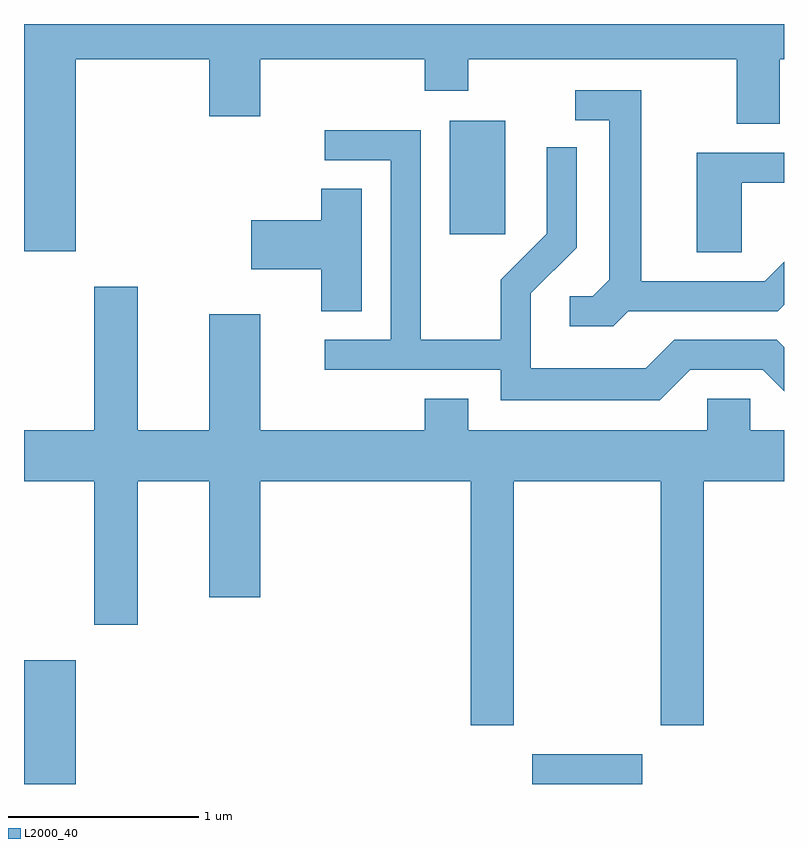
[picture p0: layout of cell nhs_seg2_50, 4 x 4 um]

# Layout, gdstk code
import gdstk
lib = gdstk.Library(unit=1e-6, precision=1e-09)
def R(c, l, rs):  # rectangles x0, y0, x1, y1
    for r in rs: c.add(gdstk.rectangle(r[:2], r[2:], *l))
def P(c, l, *ps):  # polygons
    for p in ps: c.add(gdstk.Polygon(p, *l))
L2000_40 = (2000, 40)

nhs_seg2_50 = lib.new_cell('nhs_seg2_50')
R(nhs_seg2_50, L2000_40, [(185.611,1077.802,185.884,1078.454), (188.286,1077.802,188.864,1077.959), (187.851,1080.696,188.144,1081.294)])
P(nhs_seg2_50, L2000_40, [(185.884,1081.616),(186.586,1081.616),(186.586,1081.316),(186.854,1081.316),(186.854,1081.616),(187.721,1081.616),(187.721,1081.451),(187.949,1081.451),(187.949,1081.616),(189.361,1081.616),(189.361,1081.276),(189.589,1081.276),(189.589,1081.616),(189.611,1081.616),(189.611,1081.802),(185.611,1081.802),(185.611,1080.606),(185.884,1080.606)],
  [(188.792,1080.291),(189.577,1080.291),(189.611,1080.325),(189.611,1080.552),(189.509,1080.449),(188.859,1080.449),(188.859,1081.454),(188.513,1081.454),(188.513,1081.296),(188.691,1081.296),(188.691,1080.457),(188.604,1080.369),(188.483,1080.369),(188.483,1080.211),(188.712,1080.211)],
  [(189.117,1079.981),(189.499,1079.981),(189.611,1079.869),(189.611,1080.1),(189.572,1080.139),(189.034,1080.139),(188.884,1079.989),(188.279,1079.989),(188.279,1080.384),(188.519,1080.624),(188.519,1081.153),(188.361,1081.153),(188.361,1080.697),(188.121,1080.457),(188.121,1080.139),(187.699,1080.139),(187.699,1081.244),(187.193,1081.244),(187.193,1081.086),(187.541,1081.086),(187.541,1080.139),(187.193,1080.139),(187.193,1079.981),(188.121,1079.981),(188.121,1079.821),(188.957,1079.821)],
  [(189.389,1080.966),(189.611,1080.966),(189.611,1081.124),(189.151,1081.124),(189.151,1080.601),(189.389,1080.601)],
  [(187.389,1080.934),(187.176,1080.934),(187.176,1080.769),(186.806,1080.769),(186.806,1080.511),(187.176,1080.511),(187.176,1080.291),(187.389,1080.291)],
  [(188.189,1079.396),(188.961,1079.396),(188.961,1078.111),(189.189,1078.111),(189.189,1079.396),(189.611,1079.396),(189.611,1079.664),(189.434,1079.664),(189.434,1079.829),(189.206,1079.829),(189.206,1079.664),(187.949,1079.664),(187.949,1079.829),(187.721,1079.829),(187.721,1079.664),(186.854,1079.664),(186.854,1080.274),(186.586,1080.274),(186.586,1079.664),(186.209,1079.664),(186.209,1080.419),(185.981,1080.419),(185.981,1079.664),(185.611,1079.664),(185.611,1079.396),(185.981,1079.396),(185.981,1078.641),(186.209,1078.641),(186.209,1079.396),(186.586,1079.396),(186.586,1078.786),(186.854,1078.786),(186.854,1079.396),(187.961,1079.396),(187.961,1078.111),(188.189,1078.111)])

lib.write_gds('nhs_seg2_50.gds')
